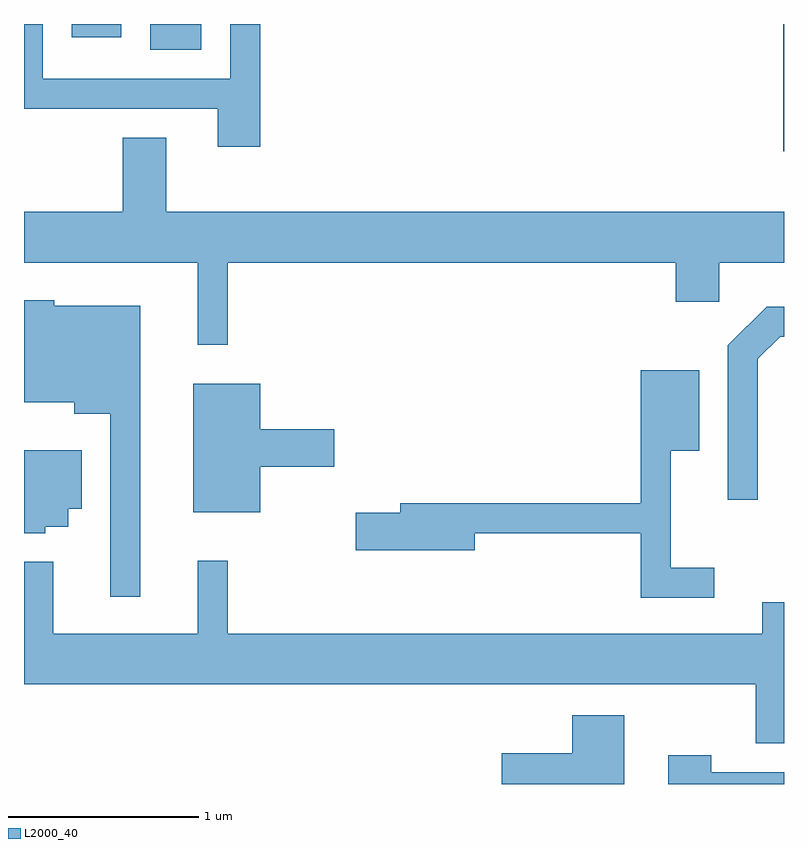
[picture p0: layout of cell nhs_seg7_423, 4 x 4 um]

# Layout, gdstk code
import gdstk
lib = gdstk.Library(unit=1e-6, precision=1e-09)
def R(c, l, rs):  # rectangles x0, y0, x1, y1
    for r in rs: c.add(gdstk.rectangle(r[:2], r[2:], *l))
def P(c, l, *ps):  # polygons
    for p in ps: c.add(gdstk.Polygon(p, *l))
L2000_40 = (2000, 40)

nhs_seg7_423 = lib.new_cell('nhs_seg7_423')
R(nhs_seg7_423, L2000_40, [(201.606,1701.581,201.611,1702.252), (198.276,1702.116,198.544,1702.252), (197.861,1702.181,198.124,1702.252)])
P(nhs_seg7_423, L2000_40, [(198.854,1702.252),(198.696,1702.252),(198.696,1701.964),(197.709,1701.964),(197.709,1702.252),(197.611,1702.252),(197.611,1701.806),(198.631,1701.806),(198.631,1701.606),(198.854,1701.606)],
  [(198.684,1700.996),(201.041,1700.996),(201.041,1700.791),(201.269,1700.791),(201.269,1700.996),(201.611,1700.996),(201.611,1701.264),(198.359,1701.264),(198.359,1701.654),(198.131,1701.654),(198.131,1701.264),(197.611,1701.264),(197.611,1700.996),(198.526,1700.996),(198.526,1700.563),(198.684,1700.563)],
  [(198.224,1700.769),(197.769,1700.769),(197.769,1700.799),(197.611,1700.799),(197.611,1700.261),(197.876,1700.261),(197.876,1700.201),(198.066,1700.201),(198.066,1699.238),(198.224,1699.238)],
  [(201.474,1700.489),(201.592,1700.606),(201.611,1700.606),(201.611,1700.764),(201.519,1700.764),(201.316,1700.562),(201.316,1699.748),(201.474,1699.748)],
  [(201.243,1699.389),(201.014,1699.389),(201.014,1700.006),(201.164,1700.006),(201.164,1700.429),(200.856,1700.429),(200.856,1699.729),(199.591,1699.729),(199.591,1699.679),(199.356,1699.679),(199.356,1699.481),(199.984,1699.481),(199.984,1699.571),(200.856,1699.571),(200.856,1699.231),(201.243,1699.231)],
  [(198.854,1699.921),(199.244,1699.921),(199.244,1700.119),(198.854,1700.119),(198.854,1700.359),(198.501,1700.359),(198.501,1699.681),(198.854,1699.681)],
  [(197.724,1699.606),(197.844,1699.606),(197.844,1699.701),(197.914,1699.701),(197.914,1700.009),(197.611,1700.009),(197.611,1699.571),(197.724,1699.571)],
  [(201.611,1699.209),(201.496,1699.209),(201.496,1699.044),(198.684,1699.044),(198.684,1699.428),(198.526,1699.428),(198.526,1699.044),(197.764,1699.044),(197.764,1699.423),(197.611,1699.423),(197.611,1698.776),(201.461,1698.776),(201.461,1698.466),(201.611,1698.466)],
  [(200.769,1698.614),(200.496,1698.614),(200.496,1698.414),(200.126,1698.414),(200.126,1698.252),(200.769,1698.252)],
  [(201.611,1698.314),(201.229,1698.314),(201.229,1698.404),(201.001,1698.404),(201.001,1698.252),(201.611,1698.252)])

lib.write_gds('nhs_seg7_423.gds')
